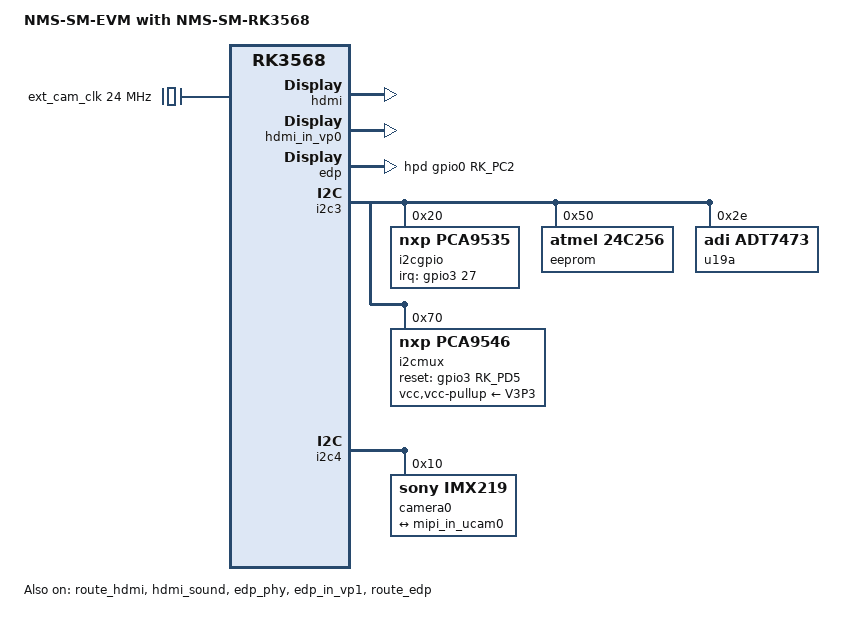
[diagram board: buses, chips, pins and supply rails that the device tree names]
// SPDX-License-Identifier: (GPL-2.0+ OR MIT)
/*
 * Copyright (c) 2022 InMys 
 *
 */

/dts-v1/;

#include "rk3568-inmys-smarc-som_v2.dtsi"
#include <dt-bindings/display/drm_mipi_dsi.h>

/ {
	model = "NMS-SM-EVM with NMS-SM-RK3568";
	compatible = "inmys,rk3568-smarc-som_v2", "inmys,rk3568-smarc-evm", "inmys,rk3568-smarc-som", "rockchip,rk3568";
};


#define HDMI 1
#define EDP 1
#define LVDS 0

/*
rk3568 has 3 video port out: vp0: 4096x2160@60Hz(10bit), vp1: 1920x1080@60Hz(8 bi), vp2: 1920x1080@60Hz(8bit)
default config for evb:
vp0: hdmi
vp1: edp
vp2: lvds
*/

#if HDMI
&hdmi {
        status = "okay";
};

&hdmi_in_vp0 {
        status = "okay";
};

/* conect in u-boot hdmi to vp0 and show logo */
&route_hdmi{
	status = "okay";
	connect = <&vp0_out_hdmi>;
};

&hdmi_sound{
	status = "okay";
};
#endif

#if EDP
&edp {
	status = "okay";
	hpd-gpios = <&gpio0 RK_PC2 GPIO_ACTIVE_HIGH>;
	pinctrl-names = "default";
	pinctrl-0 = <&edpdpm1_pins>;
};

&edp_phy {
	status = "okay";
};

&edp_in_vp1 {
	status = "okay";
};

/* conect in u-boot edp to vp1 and show logo */
&route_edp{
	status = "okay";
	connect = <&vp1_out_edp>;
};
#endif

#if LVDS

/*backlight for lvds panel*/
/ {
	lcd0_bklt_en: lcd0-bklt-en {
		compatible = "regulator-fixed";
		regulator-name = "LCD0_BKLT_EN_3v3";
		regulator-min-microvolt = <33000000>;
		regulator-max-microvolt = <33000000>;
		/*vin-supply = <&V12S>;*/
		pinctrl-names = "default";
		pinctrl-0 = <&lcd0_bklt_en_pins>;
		gpio = <&gpio0 RK_PB0 GPIO_ACTIVE_HIGH>;
		enable-active-high;
	};

	backlight: backlight {
		compatible = "pwm-backlight";
		pwms = <&pwm4 0 25000 0>;
		power-supply = <&lcd0_bklt_en>;
		brightness-levels = <
			 0   1   2   3   4   5   6   7
			 8   9  10  11  12  13  14  15
			16  17  18  19  20  21  22  23
			24  25  26  27  28  29  30  31
			32  33  34  35  36  37  38  39
			40  41  42  43  44  45  46  47
			48  49  50  51  52  53  54  55
			56  57  58  59  60  61  62  63
			64  65  66  67  68  69  70  71
			72  73  74  75  76  77  78  79
			80  81  82  83  84  85  86  87
			88  89  90  91  92  93  94  95
			96  97  98  99 100 101 102 103
			104 105 106 107 108 109 110 111
			112 113 114 115 116 117 118 119
			120 121 122 123 124 125 126 127
			128 129 130 131 132 133 134 135
			136 137 138 139 140 141 142 143
			144 145 146 147 148 149 150 151
			152 153 154 155 156 157 158 159
			160 161 162 163 164 165 166 167
			168 169 170 171 172 173 174 175
			176 177 178 179 180 181 182 183
			184 185 186 187 188 189 190 191
			192 193 194 195 196 197 198 199
			200 201 202 203 204 205 206 207
			208 209 210 211 212 213 214 215
			216 217 218 219 220 221 222 223
			224 225 226 227 228 229 230 231
			232 233 234 235 236 237 238 239
			240 241 242 243 244 245 246 247
			248 249 250 251 252 253 254 255>;
		default-brightness-level = <200>;
	};
};

&pwm4 {
	status = "okay";
};


/* lvds panel*/
/{
	/*hack: pin used for select mode 6/8 bit (not for power enable) */
	lcd0_vdd_en: lcd-vdd-en {
		compatible = "regulator-fixed";
		regulator-name = "LCD0_VDD_EN_3V3";
		regulator-min-microvolt = <3300000>;
		regulator-max-microvolt = <3300000>;
		pinctrl-names = "default";
		pinctrl-0 = <&lcd0_vdd_en_pins>;
		gpio = <&gpio0 RK_PC7 GPIO_ACTIVE_HIGH>;
		enable-active-high;
	};

	panel {
		compatible = "samsung,lsl070nl01", "simple-panel";
		backlight = <&backlight>;
		power-supply = <&lcd0_vdd_en>;
		enable-delay-ms = <20>;
		prepare-delay-ms = <20>;
		unprepare-delay-ms = <20>;
		disable-delay-ms = <20>;
		/*bus-format = <MEDIA_BUS_FMT_RGB888_1X7X4_SPWG>;*/
		bus-format = <0x1011>;
		width-mm = <231>;
		height-mm = <139>;
		display-timings {
			native-mode = <&timing0>;
			timing0: timing0 {
				clock-frequency = <25000000>;
				hactive = <800>;
				vactive = <480>;
				hback-porch = <40>;
				hfront-porch = <60>;
				vback-porch = <10>;
				vfront-porch = <10>;
				hsync-len = <2>;
				vsync-len = <1>;
				hsync-active = <1>;
				vsync-active = <1>;
				de-active = <1>;
				pixelclk-active = <0>;
			};
		};
		port {
			panel_in_lvds: endpoint {
				remote-endpoint = <&lvds_out_panel>;
			};
		};
	};
};


&lvds {
	status = "okay";
	ports {
		lvds_out:port@1 {
			reg = <1>;
			lvds_out_panel: endpoint {
				remote-endpoint = <&panel_in_lvds>;
			};
		};
	};
};

&video_phy0 {
    status = "okay";
};

&lvds_in_vp2 {
    status = "okay";
};

/* conect in u-boot lvds to vp2 and show logo */
&route_lvds {
    status = "okay";
    connect = <&vp2_out_lvds>;
};

#endif

/* SMARC: I2C_GP*/
&i2c3{
	i2cgpio: pca9535@20 {
		compatible = "nxp,pca9535";
		/* vcc-supply = <&regulator_i2c_1v8 */
		reg = <0x20>;

#if 0
		pinctrl-names = "default";
		pinctrl-0 = <&>;
#endif

		/*GPIO.3 -> P111 (som) -> gpio3_d2*/
		interrupt-parent = <&gpio3>;
		interrupts = <27 IRQ_TYPE_LEVEL_LOW>;
		interrupt-controller;
		#interrupt-cells = <2>;

		gpio-controller;
		#gpio-cells = <2>;
		gpio-line-names =
			"DSI0_TP_RST_N","DSI1_TP_RST_N","DSI0_RST_N","DSI1_RST_N","CAM0_PWDN","I2C_GPIO05","I2C_GPIO06","I2C_GPIO07",
			"I2C_GPIO10","I2C_GPIO11","I2C_GPIO12","I2C_GPIO13","I2C_GPIO14","I2C_GPIO15","I2C_GPIO16","I2C_GPIO17";
		cam_pwd {
			gpio-hog;
			gpios = <4 GPIO_ACTIVE_HIGH>;
			output-high;
		};
	};
	eeprom: 24aa025e48@50{
		compatible = "atmel,24c256";
		reg = <0x50>;
	};
	/* fan control without -1*/
	u19a: adt7473@2e {
		compatible = "adi,adt7473";
		reg = <0x2e>;
		adi,bypass-attenuator-in0 = <1>;
		adi,bypass-attenuator-in1 = <1>;
		adi,bypass-attenuator-in2 = <1>;
		adi,bypass-attenuator-in3 = <1>;
		adi,pwm-active-state = <1 1 1>;
	};

	i2cmux: pca9546a@70 {
		compatible = "nxp,pca9546";
		reg = <0x70>;
		#address-cells = <1>;
		#size-cells = <0>;
		vcc-supply = <&V3P3>;
		vcc-pullup-supply = <&V3P3>;
 
		/*I2C_MUX_RST->GPIO.0 -> P108 (som) -> gpio3_d5*/
		reset-gpios = <&gpio3 RK_PD5 GPIO_ACTIVE_HIGH>;
		
		i2c@0 { /*I2C_DSI1 -> to X25*/
			reg = <0>;
			#address-cells = <1>; 
			#size-cells = <0>;
		};
		i2c@1 { /*I2C_DSI0 -> to X24*/
			reg = <0>;
			#address-cells = <1>; 
			#size-cells = <0>;
		};
		i2c@2 { /*I2C_GP_A -> to X32*/
			reg = <0>;
			#address-cells = <1>; 
			#size-cells = <0>;
		};
		i2c@3 { /*I2C_MPCI -> to minipcie connector*/
			reg = <0>;
			#address-cells = <1>; 
			#size-cells = <0>;
		};
		
	};
};


/{
	ext_cam_clk: external-camera-clock {
		compatible = "fixed-clock";
		clock-frequency = <24000000>;
		clock-output-names = "CLK_CAMERA_24MHZ";
		#clock-cells = <0>;
	};
};
/*SMARC: I2C_CAM0*/
&i2c4{
	camera0: imx219@10 {
		compatible = "sony,imx219";
		reg = <0x10>;
		clocks = <&ext_cam_clk>;
		status = "okay";
		rockchip,camera-module-index = <0>;
		rockchip,camera-module-facing = "back";
		rockchip,camera-module-name = "NC";
		rockchip,camera-module-lens-name = "NC";
		port {
			ucam_out0: endpoint {
				remote-endpoint = <&mipi_in_ucam0>;
				data-lanes = <1 2>;
			};
		};
	};
};

&gpio0 {
	gpio-line-names =
		"GPIO0_A0","GPIO0_A1","GPIO0_A2","GPIO0_A3","GPIO0_A4","GPIO0_A5","GPIO0_A6","GPIO0_A7",
		"GPIO0_B0","GPIO0_B1","GPIO0_B2","GPIO0_B3","GPIO0_B4","GPIO0_B5","GPIO0_B6","GPIO0_B7",
		"GPIO0_C0","GPIO0_C1","GPIO0_C2","GPIO0_C3","GPIO0_C4","GPIO0_C5","GPIO0_C6","GPIO0_C7",
		"GPIO0_D0","GPIO0_D1","GPIO0_D2","GPIO0_D3","GPIO0_D4","GPIO0_D5","GPIO0_D6","GPIO0_D7";
};

&gpio1 {
	gpio-line-names =
		"GPIO1_A0","GPIO1_A1","GPIO1_A2","GPIO1_A3","GPIO1_A4","GPIO1_A5","GPIO1_A6","GPIO1_A7",
		"GPIO1_B0","GPIO1_B1","GPIO1_B2","GPIO1_B3","GPIO1_B4","GPIO1_B5","GPIO1_B6","GPIO1_B7",
		"GPIO1_C0","GPIO1_C1","GPIO1_C2","GPIO1_C3","GPIO1_C4","GPIO1_C5","GPIO1_C6","GPIO1_C7",
		"GPIO1_D0","GPIO1_D1","GPIO1_D2","GPIO1_D3","GPIO1_D4","GPIO1_D5","GPIO1_D6","GPIO1_D7";
};

&gpio2 {
	gpio-line-names =
		"GPIO2_A0","GPIO2_A1","GPIO2_A2","GPIO2_A3","GPIO2_A4","GPIO2_A5","GPIO2_A6","GPIO2_A7",
		"GPIO2_B0","GPIO2_B1","GPIO2_B2","GPIO2_B3","GPIO2_B4","GPIO2_B5","GPIO2_B6","GPIO2_B7",
		"GPIO2_C0","GPIO2_C1","GPIO2_C2","GPIO2_C3","GPIO2_C4","GPIO2_C5","GPIO2_C6","GPIO2_C7",
		"GPIO2_D0","GPIO2_D1","GPIO2_D2","GPIO2_D3","GPIO2_D4","GPIO2_D5","GPIO2_D6","GPIO2_D7";
};

&gpio3 {
	gpio-line-names =
		"GPIO3_A0","GPIO3_A1","GPIO3_A2","GPIO3_A3","GPIO3_A4","GPIO3_A5","GPIO3_A6","GPIO3_A7",
		"GPIO3_B0","GPIO3_B1","GPIO3_B2","GPIO3_B3","GPIO3_B4","GPIO3_B5","GPIO3_B6","GPIO3_B7",
		"GPIO3_C0","GPIO3_C1","GPIO3_C2","GPIO3_C3","GPIO3_C4","GPIO3_C5","GPIO3_C6","GPIO3_C7",
		"GPIO3_D0","GPIO3_D1",  "GPIO_3",  "GPIO_2",  "GPIO_1",  "GPIO_0","GPIO3_D6","GPIO3_D7";
};

&gpio4 {
	gpio-line-names =
		"GPIO4_A0","GPIO4_A1","GPIO4_A2","GPIO4_A3","GPIO4_A4","GPIO4_A5","GPIO4_A6","GPIO4_A7",
		"GPIO4_B0","GPIO4_B1","GPIO4_B2","GPIO4_B3","GPIO4_B4","GPIO4_B5","GPIO4_B6","GPIO4_B7",
		"GPIO4_C0","GPIO4_C1","GPIO4_C2","GPIO4_C3","GPIO4_C4","GPIO4_C5","GPIO4_C6","GPIO4_C7",
		"GPIO4_D0","GPIO4_D1","GPIO4_D2","GPIO4_D3","GPIO4_D4","GPIO4_D5","GPIO4_D6","GPIO4_D7";
};


/ {
	aliases {
		mmc0 = &sdhci;
		mmc1 = &sdmmc0;
	};
};
